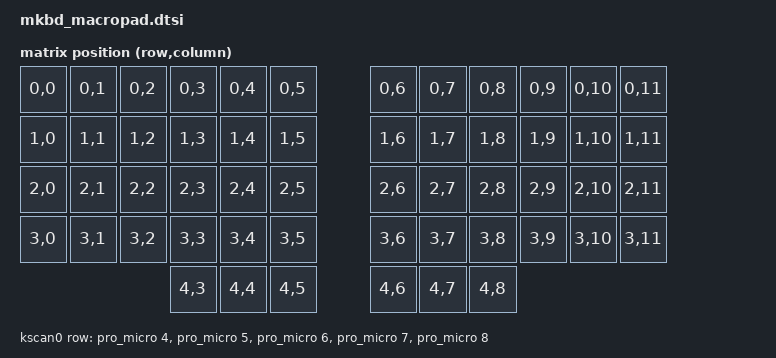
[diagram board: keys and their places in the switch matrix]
#include <dt-bindings/zmk/matrix_transform.h>
#include <physical_layouts.dtsi>

/ {

    kscan0: kscan {
        compatible = "zmk,kscan-gpio-matrix";
        diode-direction = "col2row";
        wakeup-source;
        
        row-gpios = <&pro_micro 4 (GPIO_ACTIVE_HIGH | GPIO_PULL_DOWN)>,
                    <&pro_micro 5 (GPIO_ACTIVE_HIGH | GPIO_PULL_DOWN)>,
                    <&pro_micro 6 (GPIO_ACTIVE_HIGH | GPIO_PULL_DOWN)>,
                    <&pro_micro 7 (GPIO_ACTIVE_HIGH | GPIO_PULL_DOWN)>,
                    <&pro_micro 8 (GPIO_ACTIVE_HIGH | GPIO_PULL_DOWN)>;
    };

    default_transform: keymap_transform_0 {
        compatible = "zmk,matrix-transform";
        columns = <12>;
        rows = <5>;

        // | SW1  | SW2  | SW3  | SW4  | SW5  | SW6  |   | SW6  | SW5  | SW4  | SW3  | SW2  | SW1  |
        // | SW7  | SW8  | SW9  | SW10 | SW11 | SW12 |   | SW12 | SW11 | SW10 | SW9  | SW8  | SW7  |
        // | SW13 | SW14 | SW15 | SW16 | SW17 | SW18 |   | SW18 | SW17 | SW16 | SW15 | SW14 | SW13 |
        // | SW19 | SW20 | SW21 | SW22 | SW23 | SW24 |   | SW24 | SW23 | SW22 | SW21 | SW20 | SW19 |
        //                      | SW28 | SW29 | SW30 |   | SW30 | SW29 | SW28 |


        map = <
        RC(0,0) RC(0,1) RC(0,2) RC(0,3) RC(0,4) RC(0,5)  RC(0,6) RC(0,7) RC(0,8) RC(0,9) RC(0,10) RC(0,11)
        RC(1,0) RC(1,1) RC(1,2) RC(1,3) RC(1,4) RC(1,5)  RC(1,6) RC(1,7) RC(1,8) RC(1,9) RC(1,10) RC(1,11)
        RC(2,0) RC(2,1) RC(2,2) RC(2,3) RC(2,4) RC(2,5)  RC(2,6) RC(2,7) RC(2,8) RC(2,9) RC(2,10) RC(2,11)
        RC(3,0) RC(3,1) RC(3,2) RC(3,3) RC(3,4) RC(3,5)  RC(3,6) RC(3,7) RC(3,8) RC(3,9) RC(3,10) RC(3,11)
                                RC(4,3) RC(4,4) RC(4,5)  RC(4,6) RC(4,7) RC(4,8) 
        >;
    };

    // Physical layout definition
    physical_layout0: physical_layout_0 {
        compatible = "zmk,physical-layout";
        display-name = "Default Layout";
        kscan = <&kscan0>;
        transform = <&default_transform>;
        
        keys = 
            // Left side - Row 0
            <&key_physical_attrs 100 100    0    0    0    0    0>, // ESC
            <&key_physical_attrs 100 100  100    0    0    0    0>, // 1
            <&key_physical_attrs 100 100  200    0    0    0    0>, // 2
            <&key_physical_attrs 100 100  300    0    0    0    0>, // 3
            <&key_physical_attrs 100 100  400    0    0    0    0>, // 4
            <&key_physical_attrs 100 100  500    0    0    0    0>, // 5
            
            // Right side - Row 0
            <&key_physical_attrs 100 100  700    0    0    0    0>, // 6
            <&key_physical_attrs 100 100  800    0    0    0    0>, // 7
            <&key_physical_attrs 100 100  900    0    0    0    0>, // 8
            <&key_physical_attrs 100 100 1000    0    0    0    0>, // 9
            <&key_physical_attrs 100 100 1100    0    0    0    0>, // 0
            <&key_physical_attrs 100 100 1200    0    0    0    0>, // DEL
            
            // Left side - Row 1
            <&key_physical_attrs 100 100    0  100    0    0    0>, // TAB
            <&key_physical_attrs 100 100  100  100    0    0    0>, // Q
            <&key_physical_attrs 100 100  200  100    0    0    0>, // W
            <&key_physical_attrs 100 100  300  100    0    0    0>, // E
            <&key_physical_attrs 100 100  400  100    0    0    0>, // R
            <&key_physical_attrs 100 100  500  100    0    0    0>, // T
            
            // Right side - Row 1
            <&key_physical_attrs 100 100  700  100    0    0    0>, // Y
            <&key_physical_attrs 100 100  800  100    0    0    0>, // U
            <&key_physical_attrs 100 100  900  100    0    0    0>, // I
            <&key_physical_attrs 100 100 1000  100    0    0    0>, // O
            <&key_physical_attrs 100 100 1100  100    0    0    0>, // P
            <&key_physical_attrs 100 100 1200  100    0    0    0>, // BSPC
            
            // Left side - Row 2
            <&key_physical_attrs 100 100    0  200    0    0    0>, // SHIFT
            <&key_physical_attrs 100 100  100  200    0    0    0>, // A
            <&key_physical_attrs 100 100  200  200    0    0    0>, // S
            <&key_physical_attrs 100 100  300  200    0    0    0>, // D
            <&key_physical_attrs 100 100  400  200    0    0    0>, // F
            <&key_physical_attrs 100 100  500  200    0    0    0>, // G
            
            // Right side - Row 2
            <&key_physical_attrs 100 100  700  200    0    0    0>, // H
            <&key_physical_attrs 100 100  800  200    0    0    0>, // J
            <&key_physical_attrs 100 100  900  200    0    0    0>, // K
            <&key_physical_attrs 100 100 1000  200    0    0    0>, // L
            <&key_physical_attrs 100 100 1100  200    0    0    0>, // ;
            <&key_physical_attrs 100 100 1200  200    0    0    0>, // SHIFT
            
            // Left side - Row 3
            <&key_physical_attrs 100 100    0  300    0    0    0>, // LCTRL
            <&key_physical_attrs 100 100  100  300    0    0    0>, // Z
            <&key_physical_attrs 100 100  200  300    0    0    0>, // X
            <&key_physical_attrs 100 100  300  300    0    0    0>, // C
            <&key_physical_attrs 100 100  400  300    0    0    0>, // V
            <&key_physical_attrs 100 100  500  300    0    0    0>, // B
            
            // Right side - Row 3
            <&key_physical_attrs 100 100  700  300    0    0    0>, // N
            <&key_physical_attrs 100 100  800  300    0    0    0>, // M
            <&key_physical_attrs 100 100  900  300    0    0    0>, // ,
            <&key_physical_attrs 100 100 1000  300    0    0    0>, // .
            <&key_physical_attrs 100 100 1100  300    0    0    0>, // /
            <&key_physical_attrs 100 100 1200  300    0    0    0>, // trans
            
            // Thumb clusters
            // Left thumb cluster
            <&key_physical_attrs 100 100  300  400    0    0    0>, // WIN
            <&key_physical_attrs 100 100  400  400    0    0    0>, // LWR
            <&key_physical_attrs 100 100  500  400    0    0    0>, // SPC
            
            // Right thumb cluster
            <&key_physical_attrs 100 100  700  400    0    0    0>, // ENTER
            <&key_physical_attrs 100 100  800  400    0    0    0>, // RSE
            <&key_physical_attrs 100 100  900  400    0    0    0>; // ALT
    };

    // Chosen node
    chosen {
        zmk,kscan = &kscan0;
        zmk,physical-layout = &physical_layout0;
    };
};
